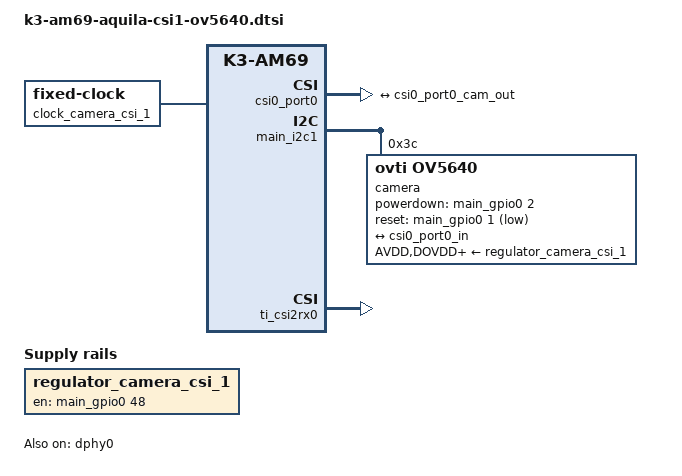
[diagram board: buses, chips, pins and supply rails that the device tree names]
// SPDX-License-Identifier: GPL-2.0-or-later OR MIT
/*
 * Copyright (c) Toradex
 *
 * Common device tree include for Toradex OV5640 CSI Camera on Aquila CSI_1.
 * Used on Development Board (J70).
 */

#include <dt-bindings/gpio/gpio.h>

&{/} {
	clock_camera_csi_1: clock-camera-csi-1 {
		compatible = "fixed-clock";
		#clock-cells = <0>;
	};

	regulator_camera_csi_1: regulator-camera-csi-1 {
		compatible = "regulator-fixed";
		pinctrl-names = "default";
		pinctrl-0 = <&pinctrl_gpio_12_csi_1>;
		/* Aquila GPIO_12_CSI_1 - Camera Connector 24 */
		gpio = <&main_gpio0 48 GPIO_ACTIVE_HIGH>;
		enable-active-high;
		regulator-name = "V_CSI_1";
		startup-delay-us = <5000>;
	};
};

&csi0_port0 {
	status = "okay";

	csi0_port0_in: endpoint {
		remote-endpoint = <&csi0_port0_cam_out>;
		bus-type = <4>; /* CSI2 DPHY. */
		clock-lanes = <0>;
		data-lanes = <1 2>;
	};
};

&dphy0 {
	status = "okay";
};

/* Aquila I2C_4_CSI1 */
&main_i2c1 {
	#address-cells = <1>;
	#size-cells = <0>;

	camera@3c {
		compatible = "ovti,ov5640";
		reg = <0x3c>;
		pinctrl-names = "default";
		pinctrl-0 = <&pinctrl_gpio_09_csi_1>, <&pinctrl_gpio_10_csi_1>;
		clocks = <&clock_camera_csi_1>;
		clock-names = "xclk";
		AVDD-supply = <&regulator_camera_csi_1>;
		DOVDD-supply = <&regulator_camera_csi_1>;
		DVDD-supply = <&regulator_camera_csi_1>;
		/* Aquila GPIO_10_CSI_1 - Camera Connector 22 */
		powerdown-gpios = <&main_gpio0 2 GPIO_ACTIVE_HIGH>;
		/* Aquila GPIO_09_CSI_1 - Camera Connector 11 */
		reset-gpios = <&main_gpio0 1 GPIO_ACTIVE_LOW>;

		port {
			csi0_port0_cam_out: endpoint {
				remote-endpoint = <&csi0_port0_in>;
				clock-lanes = <0>;
				data-lanes = <1 2>;
			};
		};
	};
};

&ti_csi2rx0 {
	status = "okay";
};
